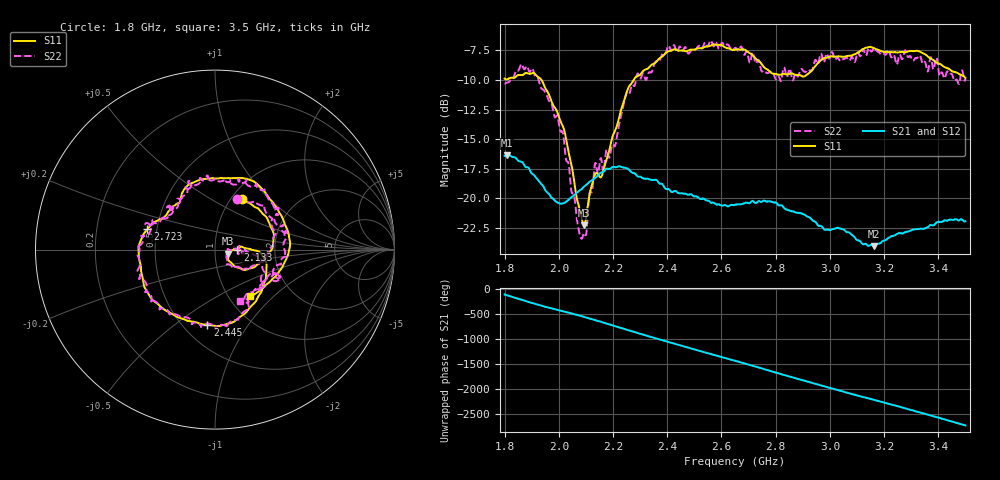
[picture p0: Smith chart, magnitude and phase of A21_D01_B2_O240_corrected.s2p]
! Created with skrf 1.9.0 (http://scikit-rf.org).
# Hz S RI R 50.0
!freq ReS11 ImS11 ReS21 ImS21 ReS12 ImS12 ReS22 ImS22
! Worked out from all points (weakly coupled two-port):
!   1601 points, 1.8 GHz to 3.5 GHz, reference 50 ohm
!   highest |S21| = -16.34 dB at 1.81 GHz (marker M1); lowest = -24.0 dB at 3.162 GHz (marker M2)
!   lowest |S11| = -22.3 dB at 2.093 GHz (marker M3), VSWR 1.17, Z = 57.8 - j2.74 ohm
!   |S11| at or under -10 dB: 1.936 GHz to 2.276 GHz (339.7 MHz wide, 16.1 % of centre)
!   |S22| runs from -23.4 to -6.7 dB; largest |S21 - S12| = 0.003
!   S11 on the Smith chart (normalised r, x): 1.8 GHz: 1.12, +0.71; 2.133 GHz: 1.29, -0.00; 2.445 GHz: 0.65, -0.66; 2.723 GHz: 0.44, +0.12; 3.5 GHz: 1.26, -0.72
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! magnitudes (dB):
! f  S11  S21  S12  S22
! 1.8 GHz  -9.9  -16.4  -16.4  -10.3
! 1.81 GHz  -9.9  -16.3  -16.4  -10.2
! 1.882 GHz  -9.4  -17.4  -17.4  -8.8
! 1.932 GHz  -9.9  -18.7  -18.7  -10.5
! 1.969 GHz  -11.6  -19.8  -19.8  -11.9
! 2.021 GHz  -14.3  -20.4  -20.4  -15.6
! 2.084 GHz  -21.6  -19.2  -19.2  -23.4
! 2.093 GHz  -22.3  -19.0  -19.0  -22.9
! 2.133 GHz  -18.0  -18.3  -18.3  -17.2
! 2.16 GHz  -18.0  -17.8  -17.7  -17.2
! 2.208 GHz  -14.2  -17.4  -17.3  -15.5
! 2.259 GHz  -10.5  -17.6  -17.6  -11.2
! 2.367 GHz  -8.3  -18.6  -18.6  -8.4
! 2.445 GHz  -7.5  -19.6  -19.6  -7.2
! 2.65 GHz  -7.4  -20.5  -20.5  -7.3
! 2.723 GHz  -8.1  -20.4  -20.3  -8.4
! 2.813 GHz  -9.6  -20.6  -20.5  -9.8
! 2.934 GHz  -9.2  -21.8  -21.8  -9.2
! 3.162 GHz  -7.3  -24.0  -24.0  -7.3
! 3.217 GHz  -7.6  -23.3  -23.3  -7.5
! 3.328 GHz  -7.6  -22.6  -22.6  -8.0
! 3.5 GHz  -9.8  -21.9  -21.9  -9.9
